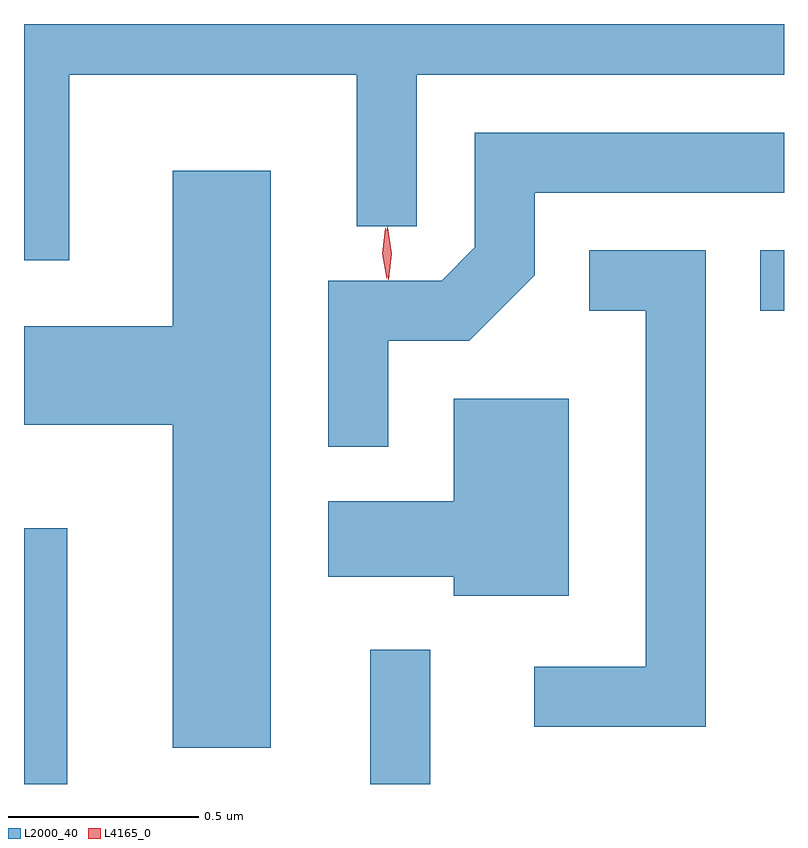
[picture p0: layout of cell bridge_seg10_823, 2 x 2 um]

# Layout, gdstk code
import gdstk
lib = gdstk.Library(unit=1e-6, precision=1e-09)
def R(c, l, rs):  # rectangles x0, y0, x1, y1
    for r in rs: c.add(gdstk.rectangle(r[:2], r[2:], *l))
def P(c, l, *ps):  # polygons
    for p in ps: c.add(gdstk.Polygon(p, *l))
L2000_40 = (2000, 40)
L4165_0 = (4165, 0)

bridge_seg10_823 = lib.new_cell('bridge_seg10_823')
R(bridge_seg10_823, L2000_40, [(404.285,2127.59,404.399,2128.263), (405.196,2127.59,405.354,2127.943), (406.223,2128.836,406.285,2128.994)])
P(bridge_seg10_823, L2000_40, [(404.404,2129.456),(405.161,2129.456),(405.161,2129.058),(405.319,2129.058),(405.319,2129.456),(406.285,2129.456),(406.285,2129.59),(404.285,2129.59),(404.285,2128.968),(404.404,2128.968)],
  [(405.244,2128.756),(405.457,2128.756),(405.629,2128.929),(405.629,2129.146),(406.285,2129.146),(406.285,2129.304),(405.471,2129.304),(405.471,2129.002),(405.384,2128.914),(405.086,2128.914),(405.086,2128.478),(405.244,2128.478)],
  [(404.934,2129.204),(404.676,2129.204),(404.676,2128.794),(404.285,2128.794),(404.285,2128.536),(404.676,2128.536),(404.676,2127.686),(404.934,2127.686)],
  [(406.079,2128.994),(405.773,2128.994),(405.773,2128.836),(405.921,2128.836),(405.921,2127.899),(405.628,2127.899),(405.628,2127.741),(406.079,2127.741)],
  [(405.719,2128.604),(405.416,2128.604),(405.416,2128.334),(405.086,2128.334),(405.086,2128.136),(405.416,2128.136),(405.416,2128.086),(405.719,2128.086)])
P(bridge_seg10_823, L4165_0, [(405.239,2128.919),(405.239,2128.919),(405.228,2128.986),(405.236,2129.052),(405.236,2129.052),(405.237,2129.052),(405.248,2128.986),(405.24,2128.919)],
  [(405.244,2128.917),(405.244,2128.917),(405.233,2128.986),(405.241,2129.055),(405.242,2129.056),(405.242,2129.055),(405.253,2128.986),(405.245,2128.917)])

lib.write_gds('bridge_seg10_823.gds')
